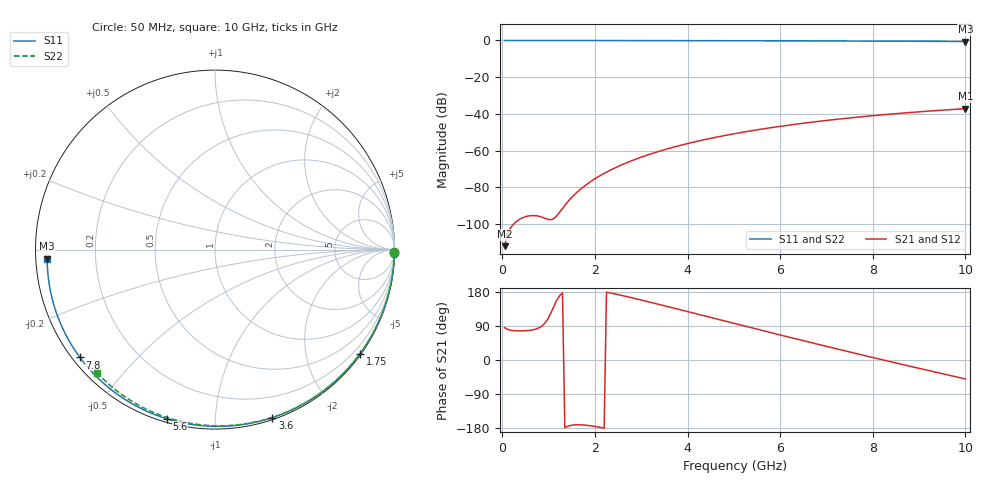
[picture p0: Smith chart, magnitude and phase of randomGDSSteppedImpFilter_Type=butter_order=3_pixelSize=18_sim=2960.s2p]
! freq	dB(S11)	phase(S11)	dB(S12)	phase(S12)
!  dB(S21)	phase(S21)	dB(S22)	phase(S22)
!S-par simulation data
#  GHz  S  DB  R 50
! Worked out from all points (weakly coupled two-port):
!   200 points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, 50 MHz to 10 GHz, reference 50 ohm
!   highest |S21| = -37.16 dB at 10 GHz (marker M1); lowest = -112.1 dB at 50 MHz (marker M2)
!   lowest |S11| = -0.6 dB at 10 GHz (marker M3), VSWR 30.41, Z = 1.65 - j1.32 ohm
!   |S11| at or under -10 dB: nowhere
!   |S22| runs from -0.4 to 0.0 dB; largest |S21 - S12| = 0
!   S11 on the Smith chart (normalised r, x): 50 MHz: open; 1.75 GHz: 0.03, -3.10; 3.6 GHz: 0.02, -1.40; 5.6 GHz: 0.02, -0.75; 7.8 GHz: 0.02, -0.35; 10 GHz: 0.03, -0.03
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0.05  -0.00 -1.0  -112.06 85.3  -112.06 85.3  -0.00 -0.8
0.45  -0.01 -9.4  -96.45 77.0  -96.45 77.0  -0.01 -6.9
0.85  -0.02 -17.6  -96.20 89.2  -96.20 89.2  -0.01 -13.0
1.25  -0.03 -25.7  -93.13 171.0  -93.13 171.0  -0.02 -19.1
1.7  -0.04 -34.7  -80.78 -171.1  -80.78 -171.1  -0.03 -25.8
1.75  -0.05 -35.7  -79.77 -171.5  -79.77 -171.5  -0.03 -26.6
2.05  -0.05 -41.7  -74.57 -176.3  -74.57 -176.3  -0.04 -31.0
2.25  -0.06 -45.6  -71.72 179.1  -71.72 179.1  -0.04 -34.0
2.45  -0.06 -49.5  -69.22 173.9  -69.22 173.9  -0.05 -36.9
2.9  -0.08 -58.1  -64.49 161.2  -64.49 161.2  -0.06 -43.4
3.4  -0.09 -67.4  -60.27 146.2  -60.27 146.2  -0.07 -50.6
3.6  -0.10 -71.1  -58.81 140.1  -58.81 140.1  -0.07 -53.4
4.3  -0.12 -83.7  -54.40 118.4  -54.40 118.4  -0.09 -63.1
5.05  -0.15 -96.7  -50.62 95.2  -50.62 95.2  -0.11 -73.2
5.6  -0.18 -105.9  -48.29 78.3  -48.29 78.3  -0.13 -80.4
6.15  -0.21 -115.0  -46.26 61.5  -46.26 61.5  -0.15 -87.4
6.7  -0.24 -123.9  -44.46 45.0  -44.46 45.0  -0.18 -94.3
7.25  -0.28 -132.7  -42.87 28.6  -42.87 28.6  -0.21 -101.1
7.8  -0.33 -141.4  -41.45 12.4  -41.45 12.4  -0.25 -107.7
8.35  -0.38 -150.1  -40.19 -3.6  -40.19 -3.6  -0.29 -114.3
9.2  -0.47 -163.8  -38.49 -27.7  -38.49 -27.7  -0.36 -124.3
10  -0.57 -177.0  -37.16 -49.9  -37.16 -49.9  -0.45 -133.7
